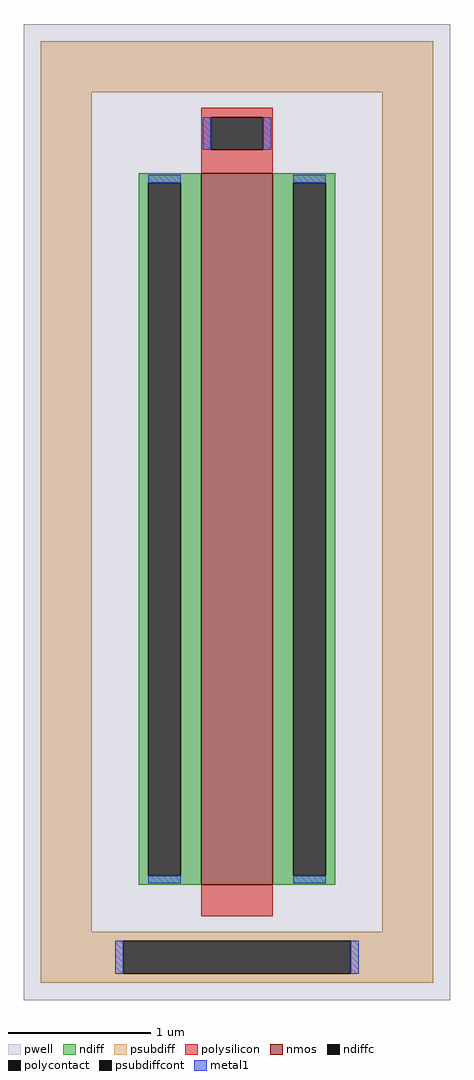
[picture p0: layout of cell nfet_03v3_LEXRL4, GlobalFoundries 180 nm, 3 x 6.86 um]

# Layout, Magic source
magic
tech gf180mcuD
magscale 1 10
<< pwell >>
rect -300 -686 300 686
<< nmos >>
rect -50 -524 50 476
<< ndiff >>
rect -138 463 -50 476
rect -138 -511 -125 463
rect -79 -511 -50 463
rect -138 -524 -50 -511
rect 50 463 138 476
rect 50 -511 79 463
rect 125 -511 138 463
rect 50 -524 138 -511
<< ndiffc >>
rect -125 -511 -79 463
rect 79 -511 125 463
<< psubdiff >>
rect -276 590 276 662
rect -276 -590 -204 590
rect 204 -590 276 590
rect -276 -603 276 -590
rect -276 -649 -160 -603
rect 160 -649 276 -603
rect -276 -662 276 -649
<< psubdiffcont >>
rect -160 -649 160 -603
<< polysilicon >>
rect -50 555 50 568
rect -50 509 -37 555
rect 37 509 50 555
rect -50 476 50 509
rect -50 -568 50 -524
<< polycontact >>
rect -37 509 37 555
<< metal1 >>
rect -48 509 -37 555
rect 37 509 48 555
rect -125 463 -79 474
rect -125 -522 -79 -511
rect 79 463 125 474
rect 79 -522 125 -511
rect -171 -649 -160 -603
rect 160 -649 171 -603
<< properties >>
string FIXED_BBOX -240 -626 240 626
string gencell nfet_03v3
string library gf180mcu
string parameters w 5.0 l 0.5 m 1 nf 1 diffcov 100 polycov 100 guard 1 glc 0 grc 0 gtc 0 gbc 1 tbcov 100 rlcov 100 topc 1 botc 0 poverlap 0 doverlap 1 lmin 0.28 wmin 0.22 class mosfet full_metal 0 compatible {nfet_03v3 nfet_05v0 nfet_06v0 nfet_06v0_nvt}
<< end >>
